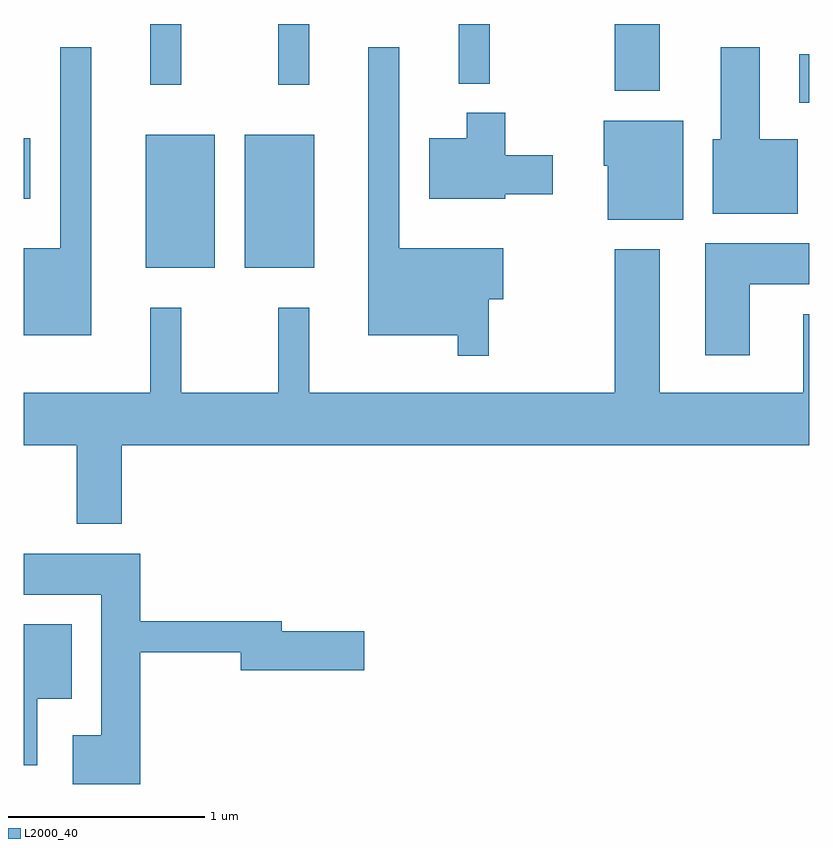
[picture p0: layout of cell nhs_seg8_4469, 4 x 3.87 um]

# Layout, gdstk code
import gdstk
lib = gdstk.Library(unit=1e-6, precision=1e-09)
def R(c, l, rs):  # rectangles x0, y0, x1, y1
    for r in rs: c.add(gdstk.rectangle(r[:2], r[2:], *l))
def P(c, l, *ps):  # polygons
    for p in ps: c.add(gdstk.Polygon(p, *l))
L2000_40 = (2000, 40)

nhs_seg8_4469 = lib.new_cell('nhs_seg8_4469')
R(nhs_seg8_4469, L2000_40, [(320.231,1835.101,320.584,1835.779), (320.736,1835.101,321.089,1835.779), (319.611,1835.451,319.644,1835.759), (323.561,1835.941,323.611,1836.189), (322.621,1836.001,322.849,1836.342), (320.256,1836.033,320.414,1836.342), (320.906,1836.033,321.064,1836.342), (321.826,1836.038,321.984,1836.342)])
P(nhs_seg8_4469, L2000_40, [(323.554,1835.754),(323.359,1835.754),(323.359,1836.224),(323.161,1836.224),(323.161,1835.754),(323.121,1835.754),(323.121,1835.376),(323.554,1835.376)],
  [(319.954,1836.223),(319.796,1836.223),(319.796,1835.199),(319.611,1835.199),(319.611,1834.756),(319.954,1834.756)],
  [(321.979,1834.941),(322.054,1834.941),(322.054,1835.199),(321.524,1835.199),(321.524,1836.223),(321.366,1836.223),(321.366,1834.756),(321.821,1834.756),(321.821,1834.653),(321.979,1834.653)],
  [(322.064,1835.476),(322.304,1835.476),(322.304,1835.674),(322.064,1835.674),(322.064,1835.889),(321.866,1835.889),(321.866,1835.759),(321.676,1835.759),(321.676,1835.451),(322.064,1835.451)],
  [(322.969,1835.849),(322.566,1835.849),(322.566,1835.621),(322.586,1835.621),(322.586,1835.346),(322.969,1835.346)],
  [(323.309,1835.016),(323.611,1835.016),(323.611,1835.224),(323.081,1835.224),(323.081,1834.656),(323.309,1834.656)],
  [(320.109,1834.196),(323.611,1834.196),(323.611,1834.864),(323.581,1834.864),(323.581,1834.464),(322.849,1834.464),(322.849,1835.194),(322.621,1835.194),(322.621,1834.464),(321.064,1834.464),(321.064,1834.898),(320.906,1834.898),(320.906,1834.464),(320.414,1834.464),(320.414,1834.898),(320.256,1834.898),(320.256,1834.464),(319.611,1834.464),(319.611,1834.196),(319.881,1834.196),(319.881,1833.796),(320.109,1833.796)],
  [(320.204,1833.141),(320.716,1833.141),(320.716,1833.051),(321.344,1833.051),(321.344,1833.249),(320.924,1833.249),(320.924,1833.299),(320.204,1833.299),(320.204,1833.644),(319.611,1833.644),(319.611,1833.436),(320.006,1833.436),(320.006,1832.719),(319.861,1832.719),(319.861,1832.471),(320.204,1832.471)],
  [(319.679,1832.906),(319.854,1832.906),(319.854,1833.284),(319.611,1833.284),(319.611,1832.566),(319.679,1832.566)])

lib.write_gds('nhs_seg8_4469.gds')
